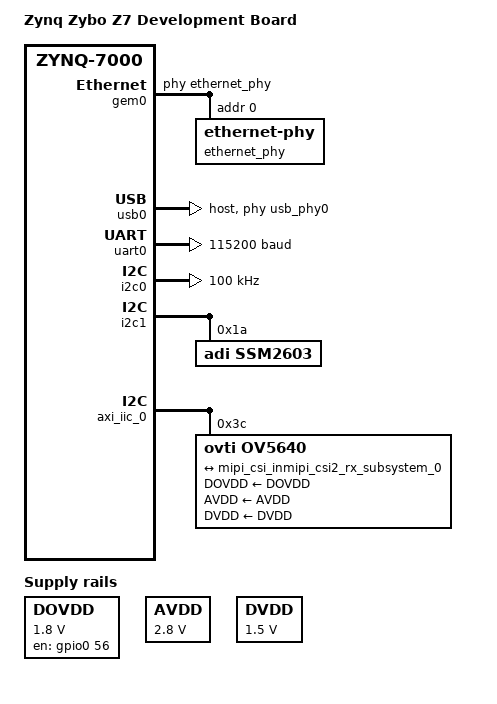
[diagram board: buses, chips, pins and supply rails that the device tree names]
#include "system-conf.dtsi"
#include <dt-bindings/gpio/gpio.h>
#include <dt-bindings/media/xilinx-vip.h>

/ {
	model = "Zynq Zybo Z7 Development Board";
	compatible = "digilent,zynq-zyboz7", "xlnx,zynq-7000";

	usb_phy0: usb_phy@0 {
		compatible = "ulpi-phy";
		#phy-cells = <0>;
		reg = <0xe0002000 0x1000>;
		view-port = <0x0170>;
		drv-vbus;
	};

	chosen {
		bootargs = "console=tty0 console=ttyPS0,115200 earlyprintk uio_pdrv_genirq.of_id=generic-uio";
	};

	pcam_clk: pcam_clk {
		#clock-cells = <0>;
		compatible = "fixed-clock";
		clock-frequency = <12000000>;
	};

	DOVDD: fixed_regulator_DOVDD@0 {
		compatible = "regulator-fixed";
		regulator-name = "DOVDD_reg";
		regulator-min-microvolt = <1800000>;
		regulator-max-microvolt = <1800000>;
		gpio = <&gpio0 56 GPIO_ACTIVE_HIGH>;
		startup-delay-us = <50000>;
		enable-active-high;
	};

	AVDD: fixed_regulator_AVDD@1 {
		compatible = "regulator-fixed";
		regulator-name = "AVDD_reg";
		regulator-min-microvolt = <2800000>;
		regulator-max-microvolt = <2800000>;

	};

	DVDD: fixed_regulator_DVDD@2 {
		compatible = "regulator-fixed";
		regulator-name = "DVDD_reg";
		regulator-min-microvolt = <1500000>;
		regulator-max-microvolt = <1500000>;
	};
};

&gem0 {
	phy-handle = <&ethernet_phy>;
	ethernet_phy: ethernet-phy@0 {
		device_type = "ethernet-phy";
		reg = <0>;
		realtek,leds-config = <0x11 0x12 0x18>;
	};
};

&usb0 {
	dr_mode = "host";
	usb-phy = <&usb_phy0>;
};

&flash0 {
        compatible = "jedec,spi-nor";
        reg = <0x0>;
        spi-tx-bus-width = <1>;
        spi-rx-bus-width = <4>;
        spi-max-frequency = <100000000>;
};

&uart0 {
	status = "okay";
	current-speed = <115200>;
};


&i2c0 {
	clock-frequency = <100000>;
	status = "okay";
};

&i2c1 {
	ssm2603: ssm2603@1a{
		#sound-dai-cells = <0>;
		compatible = "adi,ssm2603";
		reg = <0x1a>;
	};
};

&axi_iic_0 {
	ov5640: camera@3c {
		compatible = "ovti,ov5640";
		reg = <0x3c>;
		clocks = <&pcam_clk>;
		clock-names = "xclk";
		DOVDD-supply = <&DOVDD>; /* 1.8v */
		AVDD-supply = <&AVDD>;  /* 2.8v */
		DVDD-supply = <&DVDD>;  /* 1.5v */

		port {
			ov5640_to_mipi_csi2: endpoint {
				remote-endpoint = <&mipi_csi_inmipi_csi2_rx_subsystem_0>;
				clock-lanes = <0>;
				data-lanes = <1 2>;
			};
		};
	};
};

&mipi_csi2_rx_subsystem_0 {
        video-reset-gpios = <&gpio0 57 GPIO_ACTIVE_LOW>;
	xlnx,cal-mode = "FIXED";
	xlnx,clk-io-swap = "false";
                        xlnx,clk-lane-io-position = <0x0>;
                        xlnx,clk-lp-io-swap = "false";
                        xlnx,csi-en-activelanes = "false";
                        xlnx,csi-en-crc = "true";
                        xlnx,csi-filter-userdatatype = "false";
                        xlnx,csi-opt1-regs = "false";
                        xlnx,csi-pxl-format = <0x1e>;
                        xlnx,csi2rx-dbg = <0x0>;
                        xlnx,data-lane0-io-position = <0x2>;
                        xlnx,data-lane1-io-position = <0x4>;
                        xlnx,data-lane2-io-position = <0x6>;
                        xlnx,data-lane3-io-position = <0x8>;
                        xlnx,dl0-io-swap = "false";
                        xlnx,dl0-lp-io-swap = "false";
                        xlnx,dl1-io-swap = "false";
                        xlnx,dl1-lp-io-swap = "false";
                        xlnx,dl2-io-swap = "false";
                        xlnx,dl2-lp-io-swap = "false";
                        xlnx,dl3-io-swap = "false";
                        xlnx,dl3-lp-io-swap = "false";
                        xlnx,dphy-lanes = <0x2>;
                        xlnx,dphy-mode = "SLAVE";
                        xlnx,en-bg0-pin0 = "false";
                        xlnx,en-bg0-pin6 = "false";
                        xlnx,en-bg1-pin0 = "false";
                        xlnx,en-bg1-pin6 = "false";
                        xlnx,en-bg2-pin0 = "false";
                        xlnx,en-bg2-pin6 = "false";
                        xlnx,en-bg3-pin0 = "false";
                        xlnx,en-bg3-pin6 = "false";
                        xlnx,en-clk300m = "false";
                        xlnx,en-cnts-byte-clk = "false";
                        xlnx,en-csi-v2-0 = "false";
                        xlnx,en-exdesigns = "false";
                        xlnx,en-timeout-regs = "false";
                        xlnx,en-vcx = "false";
                        xlnx,esc-timeout = <0x6400>;
                        xlnx,exdes-board = "ZCU102";
                        xlnx,exdes-config = "MIPI_Video_Pipe_Camera_to_Display";
                        xlnx,exdes-fmc = "LI-IMX274MIPI-FMC V1.0 Single Sensor";
                        xlnx,fifo-rd-en-control = "true";
                        xlnx,hs-line-rate = <0x320>;
                        xlnx,hs-settle-ns = <0x93>;
                        xlnx,hs-timeout = <0x10005>;
                        xlnx,idly-group-name = "mipi_csi2rx_idly_group";
                        xlnx,idly-tap = <0x2>;
                        xlnx,init = <0x186a0>;
                        xlnx,is-7series = "true";
                        xlnx,is-versal = "false";
                        xlnx,lprx-disable-extport = <0x0>;
                        xlnx,mipi-slv-int = <0x0>;
                        xlnx,ooc-vid-clk = "6.666";
                        xlnx,rcve-alt-deskew-seq = "false";
                        xlnx,rcve-deskew-seq = "false";
                        xlnx,share-idlyctrl = "true";
                        xlnx,stretch-line-rate = <0xdac>;
};

&mipi_csi_port0mipi_csi2_rx_subsystem_0 {
	xlnx,video-format = <XVIP_VF_YUV_422>;
};

&mipi_csi_port1mipi_csi2_rx_subsystem_0 {
	xlnx,video-format = <XVIP_VF_YUV_422>;
};

&mipi_csi_inmipi_csi2_rx_subsystem_0 {
	remote-endpoint = <&ov5640_to_mipi_csi2>;
};

&v_frmbuf_wr_0 {
	reset-gpios = <&gpio0 54 GPIO_ACTIVE_LOW>;
};

